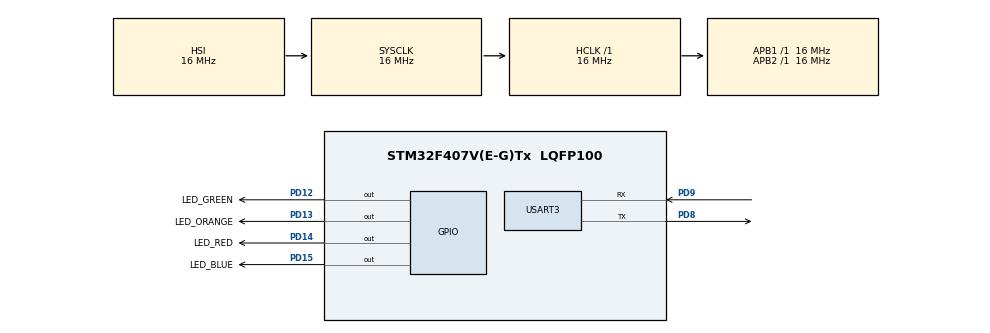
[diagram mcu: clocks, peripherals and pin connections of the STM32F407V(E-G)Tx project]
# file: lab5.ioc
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Mcu.Family=STM32F4
Mcu.Name=STM32F407V(E-G)Tx
Mcu.Package=LQFP100
NVIC.PriorityGroup=NVIC_PRIORITYGROUP_4
PD12.GPIO_Label=LED_GREEN
PD12.Signal=GPIO_Output
PD13.GPIO_Label=LED_ORANGE
PD13.Signal=GPIO_Output
PD14.GPIO_Label=LED_RED
PD14.Signal=GPIO_Output
PD15.GPIO_Label=LED_BLUE
PD15.Signal=GPIO_Output
PD8.Mode=Asynchronous
PD8.Signal=USART3_TX
PD9.Mode=Asynchronous
PD9.Signal=USART3_RX
ProjectManager.HeapSize=0x200
ProjectManager.StackSize=0x400
ProjectManager.TargetToolchain=STM32CubeIDE
RCC.AHBFreq_Value=16000000
RCC.APB1Freq_Value=16000000
RCC.APB2Freq_Value=16000000
RCC.CortexFreq_Value=16000000
RCC.HSE_VALUE=25000000
RCC.HSI_VALUE=16000000
RCC.LSE_VALUE=32768
RCC.SYSCLKFreq_VALUE=16000000
RCC.VCOOutputFreq_Value=192000000
USART3.VirtualMode=VM_ASYNC
board=custom

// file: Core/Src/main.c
/* USER CODE BEGIN Header */
/**
  ******************************************************************************
  * @file           : main.c
  * @brief          : Main program body
  ******************************************************************************
  * @attention
  *
  * Copyright (c) 2023 STMicroelectronics.
  * All rights reserved.
  *
  * This software is licensed under terms that can be found in the LICENSE file
  * in the root directory of this software component.
  * If no LICENSE file comes with this software, it is provided AS-IS.
  *
  ******************************************************************************
  */
/* USER CODE END Header */
#include "main.h"

UART_HandleTypeDef huart3;

void SystemClock_Config(void);
static void MX_GPIO_Init(void);
static void MX_USART3_UART_Init(void);

/* USER CODE BEGIN 0 */

void toggleLed(GPIO_TypeDef* port, uint16_t pin) {
  GPIO_PinState state = HAL_GPIO_ReadPin(port, pin);
  if (state == GPIO_PIN_SET) {
    HAL_GPIO_WritePin(port, pin, GPIO_PIN_RESET);
  } else {
    HAL_GPIO_WritePin(port, pin, GPIO_PIN_SET);
  }
}

/* USER CODE END 0 */

int main(void)
{

  /* MCU Configuration--------------------------------------------------------*/

  /* Reset of all peripherals, Initializes the Flash interface and the Systick. */
  HAL_Init();

  /* Configure the system clock */
  SystemClock_Config();

  /* Initialize all configured peripherals */
  MX_GPIO_Init();
  MX_USART3_UART_Init();

  /* Infinite loop */
  /* USER CODE BEGIN WHILE */
  while (1)
  {
    uint8_t rcvBuf[1];
    HAL_StatusTypeDef result;

    result = HAL_UART_Receive(&huart3, rcvBuf, 1, 10);

    if (result == HAL_OK)
    {
        switch (rcvBuf[0])
        {
            case 'g':
                toggleLed(LED_GREEN_GPIO_Port, LED_GREEN_Pin);
                HAL_UART_Transmit(&huart3, (uint8_t *)" - Green\r\n", 12, 100);
                break;
            case 'o':
                toggleLed(LED_ORANGE_GPIO_Port, LED_ORANGE_Pin);
                HAL_UART_Transmit(&huart3, (uint8_t *)" - Orange\r\n", 12, 100);
                break;
            case 'r':
                toggleLed(LED_RED_GPIO_Port, LED_RED_Pin);
                HAL_UART_Transmit(&huart3, (uint8_t *)" - Red\r\n", 12, 100);
                break;
            case 'b':
                toggleLed(LED_BLUE_GPIO_Port, LED_BLUE_Pin);
                HAL_UART_Transmit(&huart3, (uint8_t *)" - Blue\r\n", 12, 100);
                break;

            case '1':
                HAL_GPIO_WritePin(LED_GREEN_GPIO_Port, LED_GREEN_Pin, GPIO_PIN_SET);
                HAL_GPIO_WritePin(LED_ORANGE_GPIO_Port, LED_ORANGE_Pin, GPIO_PIN_SET);
                HAL_GPIO_WritePin(LED_RED_GPIO_Port, LED_RED_Pin, GPIO_PIN_SET);
                HAL_GPIO_WritePin(LED_BLUE_GPIO_Port, LED_BLUE_Pin, GPIO_PIN_SET);
                HAL_UART_Transmit(&huart3, (uint8_t *)" - All on\r\n", 12, 100);
                break;
            case '0':
                HAL_GPIO_WritePin(LED_GREEN_GPIO_Port, LED_GREEN_Pin, GPIO_PIN_RESET);
                HAL_GPIO_WritePin(LED_ORANGE_GPIO_Port, LED_ORANGE_Pin, GPIO_PIN_RESET);
                HAL_GPIO_WritePin(LED_RED_GPIO_Port, LED_RED_Pin, GPIO_PIN_RESET);
                HAL_GPIO_WritePin(LED_BLUE_GPIO_Port, LED_BLUE_Pin, GPIO_PIN_RESET);
                HAL_UART_Transmit(&huart3, (uint8_t *)" - All off\r\n", 12, 100);
                break;

            default:
                HAL_UART_Transmit(&huart3, (uint8_t *)" - UnexpCmd\r\n", 13, 100);
                break;
        }
    }
    /* USER CODE END WHILE */

  }
}

void SystemClock_Config(void)
{
  RCC_OscInitTypeDef RCC_OscInitStruct = {0};
  RCC_ClkInitTypeDef RCC_ClkInitStruct = {0};

  /** Configure the main internal regulator output voltage
  */
  __HAL_RCC_PWR_CLK_ENABLE();
  __HAL_PWR_VOLTAGESCALING_CONFIG(PWR_REGULATOR_VOLTAGE_SCALE1);

  /** Initializes the RCC Oscillators according to the specified parameters
  * in the RCC_OscInitTypeDef structure.
  */
  RCC_OscInitStruct.OscillatorType = RCC_OSCILLATORTYPE_HSI;
  RCC_OscInitStruct.HSIState = RCC_HSI_ON;
  RCC_OscInitStruct.HSICalibrationValue = RCC_HSICALIBRATION_DEFAULT;
  RCC_OscInitStruct.PLL.PLLState = RCC_PLL_NONE;
  if (HAL_RCC_OscConfig(&RCC_OscInitStruct) != HAL_OK)
  {
    Error_Handler();
  }

  /** Initializes the CPU, AHB and APB buses clocks
  */
  RCC_ClkInitStruct.ClockType = RCC_CLOCKTYPE_HCLK|RCC_CLOCKTYPE_SYSCLK
                              |RCC_CLOCKTYPE_PCLK1|RCC_CLOCKTYPE_PCLK2;
  RCC_ClkInitStruct.SYSCLKSource = RCC_SYSCLKSOURCE_HSI;
  RCC_ClkInitStruct.AHBCLKDivider = RCC_SYSCLK_DIV1;
  RCC_ClkInitStruct.APB1CLKDivider = RCC_HCLK_DIV1;
  RCC_ClkInitStruct.APB2CLKDivider = RCC_HCLK_DIV1;

  if (HAL_RCC_ClockConfig(&RCC_ClkInitStruct, FLASH_LATENCY_0) != HAL_OK)
  {
    Error_Handler();
  }
}

static void MX_USART3_UART_Init(void)
{

  huart3.Instance = USART3;
  huart3.Init.BaudRate = 115200;
  huart3.Init.WordLength = UART_WORDLENGTH_8B;
  huart3.Init.StopBits = UART_STOPBITS_1;
  huart3.Init.Parity = UART_PARITY_NONE;
  huart3.Init.Mode = UART_MODE_TX_RX;
  huart3.Init.HwFlowCtl = UART_HWCONTROL_NONE;
  huart3.Init.OverSampling = UART_OVERSAMPLING_16;
  if (HAL_UART_Init(&huart3) != HAL_OK)
  {
    Error_Handler();
  }

}

static void MX_GPIO_Init(void)
{
  GPIO_InitTypeDef GPIO_InitStruct = {0};

  /* GPIO Ports Clock Enable */
  __HAL_RCC_GPIOD_CLK_ENABLE();

  /*Configure GPIO pin Output Level */
  HAL_GPIO_WritePin(GPIOD, LED_GREEN_Pin|LED_ORANGE_Pin|LED_RED_Pin|LED_BLUE_Pin, GPIO_PIN_RESET);

  /*Configure GPIO pins : LED_GREEN_Pin LED_ORANGE_Pin LED_RED_Pin LED_BLUE_Pin */
  GPIO_InitStruct.Pin = LED_GREEN_Pin|LED_ORANGE_Pin|LED_RED_Pin|LED_BLUE_Pin;
  GPIO_InitStruct.Mode = GPIO_MODE_OUTPUT_PP;
  GPIO_InitStruct.Pull = GPIO_NOPULL;
  GPIO_InitStruct.Speed = GPIO_SPEED_FREQ_LOW;
  HAL_GPIO_Init(GPIOD, &GPIO_InitStruct);

}

void Error_Handler(void)
{
  __disable_irq();
  while (1)
  {
  }
}
